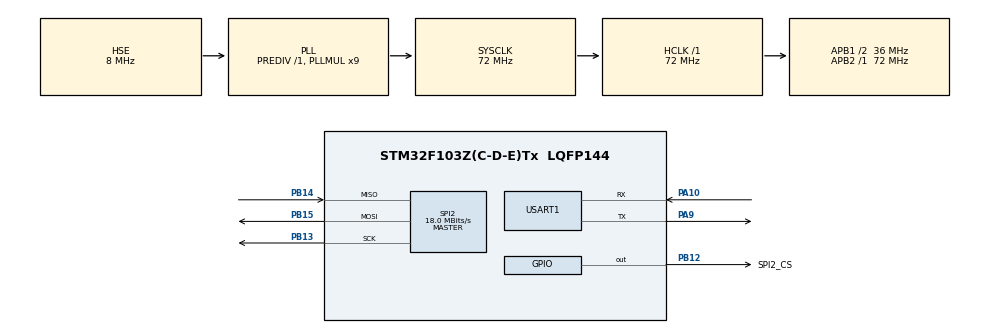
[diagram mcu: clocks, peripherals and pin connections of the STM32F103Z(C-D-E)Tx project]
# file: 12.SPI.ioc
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Mcu.Family=STM32F1
RCC.PLLSourceVirtual=RCC_PLLSOURCE_HSE
PA10.Mode=Asynchronous
SPI2.VirtualType=VM_MASTER
RCC.APB1CLKDivider=RCC_HCLK_DIV2
PB13.Signal=SPI2_SCK
PB15.Signal=SPI2_MOSI
RCC.SYSCLKSource=RCC_SYSCLKSOURCE_PLLCLK
ProjectManager.StackSize=0x400
PA13.Signal=SYS_JTMS-SWDIO
PA9.Mode=Asynchronous
ProjectManager.TargetToolchain=STM32CubeIDE
RCC.HCLKFreq_Value=72000000
RCC.APB2TimFreq_Value=72000000
PA9.Signal=USART1_TX
OSC_IN.Signal=RCC_OSC_IN
RCC.USBFreq_Value=72000000
OSC_OUT.Mode=HSE-External-Oscillator
OSC_OUT.Signal=RCC_OSC_OUT
RCC.AHBFreq_Value=72000000
SPI2.BaudRatePrescaler=SPI_BAUDRATEPRESCALER_2
PB14.Signal=SPI2_MISO
board=custom
RCC.PLLMUL=RCC_PLL_MUL9
PB15.Mode=Full_Duplex_Master
PB12.GPIO_Label=SPI2_CS
RCC.APB2Freq_Value=72000000
PA14.Mode=Serial_Wire
PB14.Mode=Full_Duplex_Master
SPI2.CalculateBaudRate=18.0 MBits/s
NVIC.SPI2_IRQn=true\:0\:0\:false\:false\:true\:true\:true
PA13.Mode=Serial_Wire
Mcu.Name=STM32F103Z(C-D-E)Tx
RCC.SYSCLKFreq_VALUE=72000000
Mcu.Package=LQFP144
SPI2.Mode=SPI_MODE_MASTER
OSC_IN.Mode=HSE-External-Oscillator
USART1.VirtualMode=VM_ASYNC
PA10.Signal=USART1_RX
PA14.Signal=SYS_JTCK-SWCLK
ProjectManager.HeapSize=0x200
NVIC.PriorityGroup=NVIC_PRIORITYGROUP_4
RCC.APB1TimFreq_Value=72000000
SPI2.Direction=SPI_DIRECTION_2LINES
PB13.Mode=Full_Duplex_Master
NVIC.USART1_IRQn=true\:0\:0\:false\:false\:true\:true\:true
RCC.APB1Freq_Value=36000000
PB12.Signal=GPIO_Output

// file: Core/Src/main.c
/* USER CODE BEGIN Header */
/**
  ******************************************************************************
  * @file           : main.c
  * @brief          : Main program body
  ******************************************************************************
  * @attention
  *
  * <h2><center>&copy; Copyright (c) 2021 STMicroelectronics.
  * All rights reserved.</center></h2>
  *
  * This software component is licensed by ST under BSD 3-Clause license,
  * the "License"; You may not use this file except in compliance with the
  * License. You may obtain a copy of the License at:
  *                        opensource.org/licenses/BSD-3-Clause
  *
  ******************************************************************************
  */
/* USER CODE END Header */
#include "main.h"
#include "spi.h"
#include "usart.h"
#include "gpio.h"

/* USER CODE BEGIN Includes */
#include <string.h>
#include "W25QXX.h"
#include "stdio.h"
/* USER CODE END Includes */

void SystemClock_Config(void);

/* USER CODE BEGIN 0 */
uint8_t wData[0x100];
uint8_t rData[0x100];
uint32_t i;
uint8_t ID[2];
/* USER CODE END 0 */

int main(void)
{

  /* MCU Configuration--------------------------------------------------------*/

  /* Reset of all peripherals, Initializes the Flash interface and the Systick. */
  HAL_Init();

  /* Configure the system clock */
  SystemClock_Config();

  /* Initialize all configured peripherals */
  MX_GPIO_Init();
  MX_SPI2_Init();
  MX_USART1_UART_Init();
  /* USER CODE BEGIN 2 */
  printf("\r\n SPI-W25Qxxx Example \r\n\r\n");
  /* USER CODE END 2 */

  /* Infinite loop */
  while (1)
  {
	  BSP_W25Qx_Init();
	  BSP_W25Qx_Read_ID(ID);

	  printf("W25Qxxx ID is:0x%02x \r\n\r\n", ID[0], ID[1]);

	  if(BSP_W25Qx_Erase_Block(0) == W25Qx_OK)
		  printf("SPI Erase Block ok\r\n");
	  else
		  Error_Handler();

	  for(i = 0; i < 0x100; i++)
	  {
		  wData[i] = i;
		  rData[i] = 0;
	  }
	  if(BSP_W25Qx_Write(wData, 0x00, 0x100) == W25Qx_OK)
		  printf("SPI Write ok\r\n");
	  else
		  Error_Handler();

	  if(BSP_W25Qx_Read(rData, 0x00, 0x100) == W25Qx_OK)
		  printf("SPI Read ok\r\n\r\n");
	  else
		  Error_Handler();

	  printf("SPI Read Data:\r\n");
	  for(i = 0; i < 0x100; i++)
	  {
		  printf("0x%02x ", rData[i]);
	  }
  	  printf("\r\n\r\n");

  	  if(memcmp(wData, rData, 0x100) == 0)
  		  printf("W25Q128FV SPI Test OK\r\n");
  	  else
  		  printf("W25Q128FV SPI Test False\r\n");

  }
}

void SystemClock_Config(void)
{
  RCC_OscInitTypeDef RCC_OscInitStruct = {0};
  RCC_ClkInitTypeDef RCC_ClkInitStruct = {0};

  /** Initializes the RCC Oscillators according to the specified parameters
  * in the RCC_OscInitTypeDef structure.
  */
  RCC_OscInitStruct.OscillatorType = RCC_OSCILLATORTYPE_HSE;
  RCC_OscInitStruct.HSEState = RCC_HSE_ON;
  RCC_OscInitStruct.HSEPredivValue = RCC_HSE_PREDIV_DIV1;
  RCC_OscInitStruct.HSIState = RCC_HSI_ON;
  RCC_OscInitStruct.PLL.PLLState = RCC_PLL_ON;
  RCC_OscInitStruct.PLL.PLLSource = RCC_PLLSOURCE_HSE;
  RCC_OscInitStruct.PLL.PLLMUL = RCC_PLL_MUL9;
  if (HAL_RCC_OscConfig(&RCC_OscInitStruct) != HAL_OK)
  {
    Error_Handler();
  }
  /** Initializes the CPU, AHB and APB buses clocks
  */
  RCC_ClkInitStruct.ClockType = RCC_CLOCKTYPE_HCLK|RCC_CLOCKTYPE_SYSCLK
                              |RCC_CLOCKTYPE_PCLK1|RCC_CLOCKTYPE_PCLK2;
  RCC_ClkInitStruct.SYSCLKSource = RCC_SYSCLKSOURCE_PLLCLK;
  RCC_ClkInitStruct.AHBCLKDivider = RCC_SYSCLK_DIV1;
  RCC_ClkInitStruct.APB1CLKDivider = RCC_HCLK_DIV2;
  RCC_ClkInitStruct.APB2CLKDivider = RCC_HCLK_DIV1;

  if (HAL_RCC_ClockConfig(&RCC_ClkInitStruct, FLASH_LATENCY_2) != HAL_OK)
  {
    Error_Handler();
  }
}

/* USER CODE BEGIN 4 */
// 须在头文件中添加 #include <stdio.h>

//////////////////////////////////////////////////////////////////
// 加入以下代码,支持printf函数,而不需要选择use MicroLIB
// MDK中同样定义了 __GNUC__，使用__ARMCC_VERSION 或  __CC_ARM 区分MDK和STM32CubeIDE
// MDK预定义宏，详见 ：https://www.keil.com/support/man/docs/armcc/armcc_chr1359125007083.htm

#ifdef __CC_ARM // 或 #ifdef __ARMCC_VERSION
  #define PUTCHAR_PROTOTYPE int fputc(int ch, FILE *f)
#else
  #define PUTCHAR_PROTOTYPE int __io_putchar(int ch)
#endif
#if 1

FILE __stdout;
//定义_sys_exit()以避免使用半主机模式
void _sys_exit(int x) {
  x = x;
}
//重定义fputc函数
PUTCHAR_PROTOTYPE {
  // 具体哪个串口可以更改huart2为其它串口
  // HAL_UART_Transmit(&huart2, (uint8_t *)&ch, 1 , 0xffff);
  while ((USART1->SR & 0X40) == 0) {
  }; //循环发送,直到发送完毕
  USART1->DR = (uint8_t) ch;

//  while ((USART2->SR & 0X40) == 0) {
//  }; //循环发送,直到发送完毕
//  USART2->DR = (uint8_t) ch;

  return ch;
}
#endif

/* USER CODE END 4 */

void Error_Handler(void)
{
  __disable_irq();
  while (1)
  {
  }
}

/************************ (C) COPYRIGHT STMicroelectronics *****END OF FILE****/
